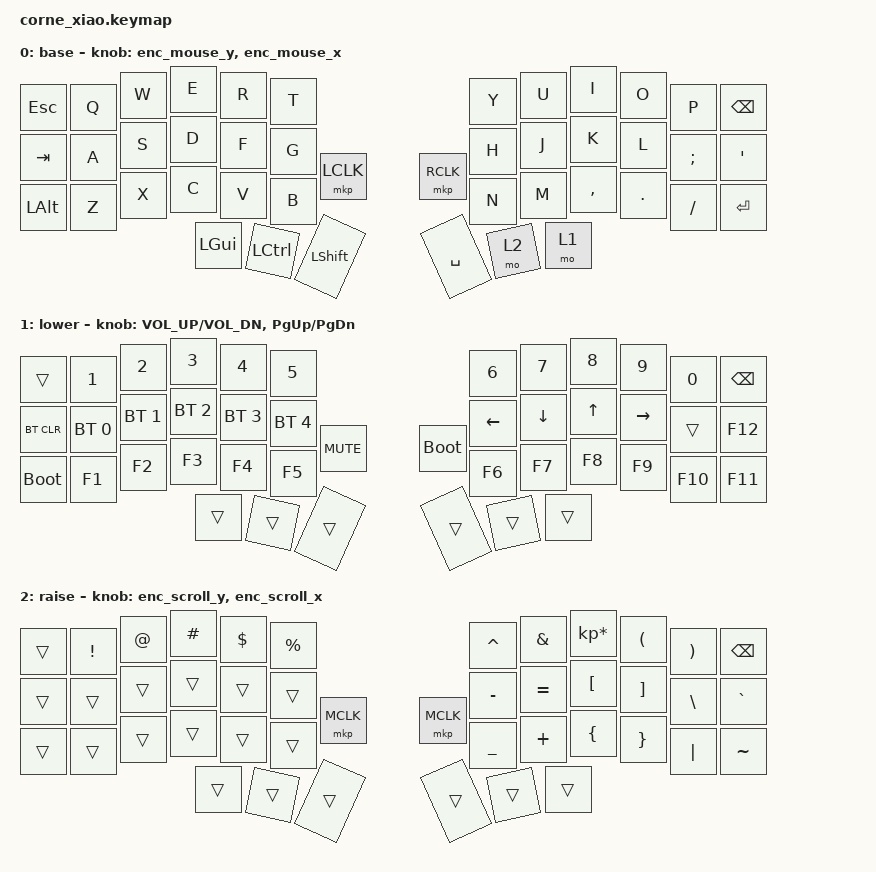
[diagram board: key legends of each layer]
// Encoder detent = one 16 ms mouse tick (tap-ms = 20), so per detent:
// cursor moves MOVE_VAL * 0.016 px, scroll moves SCRL_VAL * 0.016 wheel notches
#define ZMK_POINTING_DEFAULT_MOVE_VAL 1250
#define ZMK_POINTING_DEFAULT_SCRL_VAL 70

#include <behaviors.dtsi>
#include <dt-bindings/zmk/keys.h>
#include <dt-bindings/zmk/bt.h>
#include <dt-bindings/zmk/pointing.h>

// Constant cursor speed, no acceleration
&mmv {
    acceleration-exponent = <0>;
};

/ {
    behaviors {
        enc_mouse_y: enc_mouse_y {
            compatible = "zmk,behavior-sensor-rotate";
            #sensor-binding-cells = <0>;
            bindings = <&mmv MOVE_DOWN>, <&mmv MOVE_UP>;
            tap-ms = <20>;
        };

        enc_mouse_x: enc_mouse_x {
            compatible = "zmk,behavior-sensor-rotate";
            #sensor-binding-cells = <0>;
            bindings = <&mmv MOVE_RIGHT>, <&mmv MOVE_LEFT>;
            tap-ms = <20>;
        };

        enc_scroll_y: enc_scroll_y {
            compatible = "zmk,behavior-sensor-rotate";
            #sensor-binding-cells = <0>;
            bindings = <&msc SCRL_DOWN>, <&msc SCRL_UP>;
            tap-ms = <20>;
        };

        enc_scroll_x: enc_scroll_x {
            compatible = "zmk,behavior-sensor-rotate";
            #sensor-binding-cells = <0>;
            bindings = <&msc SCRL_RIGHT>, <&msc SCRL_LEFT>;
            tap-ms = <20>;
        };
    };
};

/ {
    combos {
        compatible = "zmk,combos";
        combo_studio_unlock {
            timeout-ms = <50>;
            key-positions = <0 1>;
            bindings = <&studio_unlock>;
        };
    };
};

/ {
    keymap {
        compatible = "zmk,keymap";

        default_layer {
            display-name = "base";
            sensor-bindings = <&enc_mouse_y &enc_mouse_x>;

// -------------------------------------------------------------------------------------------------
// |  ESC |  Q  |  W  |  E  |  R  |  T  |                    |  Y  |  U   |  I  |  O  |  P  | BKSP |
// |  TAB |  A  |  S  |  D  |  F  |  G  |                    |  H  |  J   |  K  |  L  |  ;  |  '   |
// |  ALT |  Z  |  X  |  C  |  V  |  B  |  LCLK  |  |  RCLK  |  N  |  M   |  ,  |  .  |  /  | ENT  |
//                    | GUI | CTRL| SHFT|                    | SPC | RSE  | LWR |
            bindings = <
&kp ESC  &kp Q &kp W &kp E    &kp R     &kp T                          &kp Y     &kp U &kp I     &kp O   &kp P    &kp BSPC
&kp TAB  &kp A &kp S &kp D    &kp F     &kp G                          &kp H     &kp J &kp K     &kp L   &kp SEMI &kp SQT
&kp LALT &kp Z &kp X &kp C    &kp V     &kp B     &mkp LCLK &mkp RCLK &kp N     &kp M &kp COMMA &kp DOT &kp FSLH &kp RET
                     &kp LGUI &kp LCTRL &kp LSHFT                      &kp SPACE &mo 2 &mo 1
            >;
        };

        lower_layer {
            display-name = "lower";
            sensor-bindings = <&inc_dec_kp C_VOL_UP C_VOL_DN &inc_dec_kp PG_UP PG_DN>;

// ------------------------------------------------------------------------------------------------
// |      |  1  |  2  |  3  |  4  |  5  |                    |  6  |  7  |  8  |  9  |  0  | BKSP |
// | BTCLR| BT1 | BT2 | BT3 | BT4 | BT5 |                    | LFT | DWN |  UP | RGT |     |  F12 |
// | boot | F1  | F2  | F3  | F4  | F5  |  MUTE  |  |  boot  |  F6 | F7  | F8  | F9  | F10 |  F11 |
//                    |     |     |     |                    |     |     |     |
            bindings = <
&trans     &kp N1       &kp N2       &kp N3       &kp N4       &kp N5                         &kp N6   &kp N7   &kp N8 &kp N9    &kp N0  &kp BSPC
&bt BT_CLR &bt BT_SEL 0 &bt BT_SEL 1 &bt BT_SEL 2 &bt BT_SEL 3 &bt BT_SEL 4                   &kp LEFT &kp DOWN &kp UP &kp RIGHT &trans  &kp F12
&bootloader &kp F1      &kp F2       &kp F3       &kp F4       &kp F5       &kp C_MUTE &bootloader &kp F6   &kp F7   &kp F8 &kp F9    &kp F10 &kp F11
                                     &trans       &trans       &trans                         &trans   &trans   &trans
            >;
        };

        raise_layer {
            display-name = "raise";
            sensor-bindings = <&enc_scroll_y &enc_scroll_x>;

// ------------------------------------------------------------------------------------------------
// |      |  !  |  @  |  #  |  $  |  %  |                    |  ^  |  &  |  *  |  (  |  )  | BKSP |
// |      |     |     |     |     |     |                    |  -  |  =  |  [  |  ]  |  \  |  `   |
// |      |     |     |     |     |     |  MCLK  |  |  MCLK  |  _  |  +  |  {  |  }  | "|" |  ~   |
//                    |     |     |     |                    |     |     |     |
            bindings = <
&trans &kp EXCL &kp AT &kp HASH &kp DLLR &kp PRCNT                   &kp CARET &kp AMPS  &kp KP_MULTIPLY &kp LPAR &kp RPAR &kp BSPC
&trans &trans   &trans &trans   &trans   &trans                      &kp MINUS &kp EQUAL &kp LBKT        &kp RBKT &kp BSLH &kp GRAVE
&trans &trans   &trans &trans   &trans   &trans    &mkp MCLK &mkp MCLK &kp UNDER &kp PLUS  &kp LBRC        &kp RBRC &kp PIPE &kp TILDE
                       &trans   &trans   &trans                      &trans    &trans    &trans
            >;
        };

        extra1 {
            display-name = "extra1";
            status = "reserved";
        };

        extra2 {
            display-name = "extra2";
            status = "reserved";
        };
    };
};
